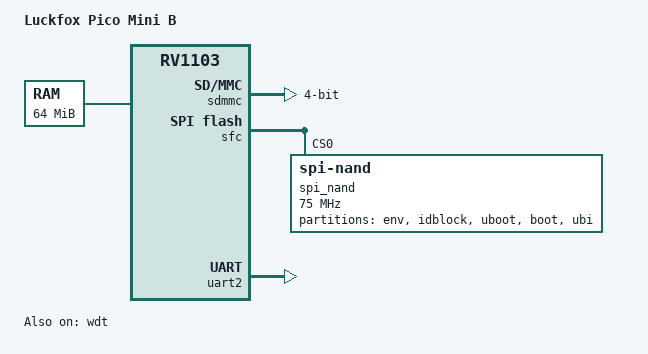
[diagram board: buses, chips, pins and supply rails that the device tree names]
// SPDX-License-Identifier: (GPL-2.0+ OR MIT)
/*
 * Copyright (c) 2023 Luckfox Electronics Co., Ltd
 */

/dts-v1/;

#include "rv1103.dtsi"

/ {
	model = "Luckfox Pico Mini B";
	compatible = "luckfox,pico-mini-b", "rockchip,rv1103";

	aliases {
		mmc0 = &sdmmc;
		serial2 = &uart2;
	};

	chosen {
		stdout-path = "serial2:115200n8";
	};

	memory@0 {
		device_type = "memory";
		reg = <0x00000000 0x04000000>;
	};
};

&sdmmc {
	bus-width = <4>;
	cap-sd-highspeed;
	disable-wp;
	pinctrl-names = "default";
	pinctrl-0 = <&sdmmc0_clk &sdmmc0_cmd &sdmmc0_det &sdmmc0_bus4>;
	status = "okay";
};

&sfc {
	pinctrl-names = "default";
	pinctrl-0 = <&fspi_pins &fspi_cs0>;
	status = "okay";

	spi_nand: flash@0 {
		compatible = "spi-nand";
		reg = <0>;
		spi-max-frequency = <75000000>;
		spi-rx-bus-width = <4>;
		spi-tx-bus-width = <1>;

		partitions {
			compatible = "fixed-partitions";
			#address-cells = <1>;
			#size-cells = <1>;

			partition@0 {
				label = "env";
				reg = <0x00000000 0x00040000>;
			};

			partition@40000 {
				label = "idblock";
				reg = <0x00040000 0x00100000>;
				read-only;
			};

			partition@140000 {
				label = "uboot";
				reg = <0x00140000 0x00100000>;
				read-only;
			};

			partition@240000 {
				label = "boot";
				reg = <0x00240000 0x00800000>;
			};

			partition@a40000 {
				label = "ubi";
				reg = <0x00a40000 0x075c0000>;
			};
		};
	};
};

&uart2 {
	pinctrl-names = "default";
	pinctrl-0 = <&uart2m1_xfer>;
	status = "okay";
};

&wdt {
	status = "okay";
};
